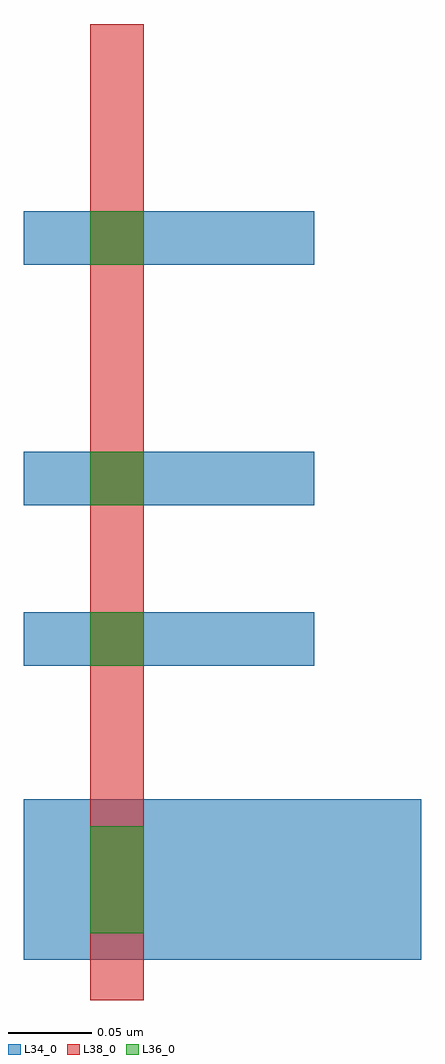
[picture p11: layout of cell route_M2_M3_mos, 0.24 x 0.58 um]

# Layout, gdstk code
import gdstk
lib = gdstk.Library(unit=1e-6, precision=5e-10)
def R(c, l, rs):  # rectangles x0, y0, x1, y1
    for r in rs: c.add(gdstk.rectangle(r[:2], r[2:], *l))
L34_0 = (34, 0)
L36_0 = (36, 0)
L38_0 = (38, 0)

via_m2_m3_0 = lib.new_cell('via_M2_M3_0')
R(via_m2_m3_0, L34_0, [(-0.056,-0.016,0.056,0.016)])
R(via_m2_m3_0, L36_0, [(-0.016,-0.016,0.016,0.016)])
R(via_m2_m3_0, L38_0, [(-0.016,-0.056,0.016,0.056)])

via_m2_m3_1 = lib.new_cell('via_M2_M3_1')
R(via_m2_m3_1, L34_0, [(-0.056,-0.048,0.056,0.048)])
R(via_m2_m3_1, L36_0, [(-0.016,-0.032,0.016,0.032)])
R(via_m2_m3_1, L38_0, [(-0.016,-0.072,0.016,0.072)])

route_m2_m3_mos = lib.new_cell('route_M2_M3_mos')
R(route_m2_m3_mos, L34_0, [(0,-0.048,0.182,0.048), (0,0.128,0.118,0.16), (0,0.224,0.118,0.256), (0,0.368,0.118,0.4)])
R(route_m2_m3_mos, L38_0, [(-0.016,0,0.016,0.512)])
route_m2_m3_mos.add(gdstk.Reference(via_m2_m3_0, (0,0.24)))
route_m2_m3_mos.add(gdstk.Reference(via_m2_m3_0, (0,0.384)))
route_m2_m3_mos.add(gdstk.Reference(via_m2_m3_0, (0,0.144)))
route_m2_m3_mos.add(gdstk.Reference(via_m2_m3_1, (0,0)))

lib.write_gds('route_M2_M3_mos.gds')
